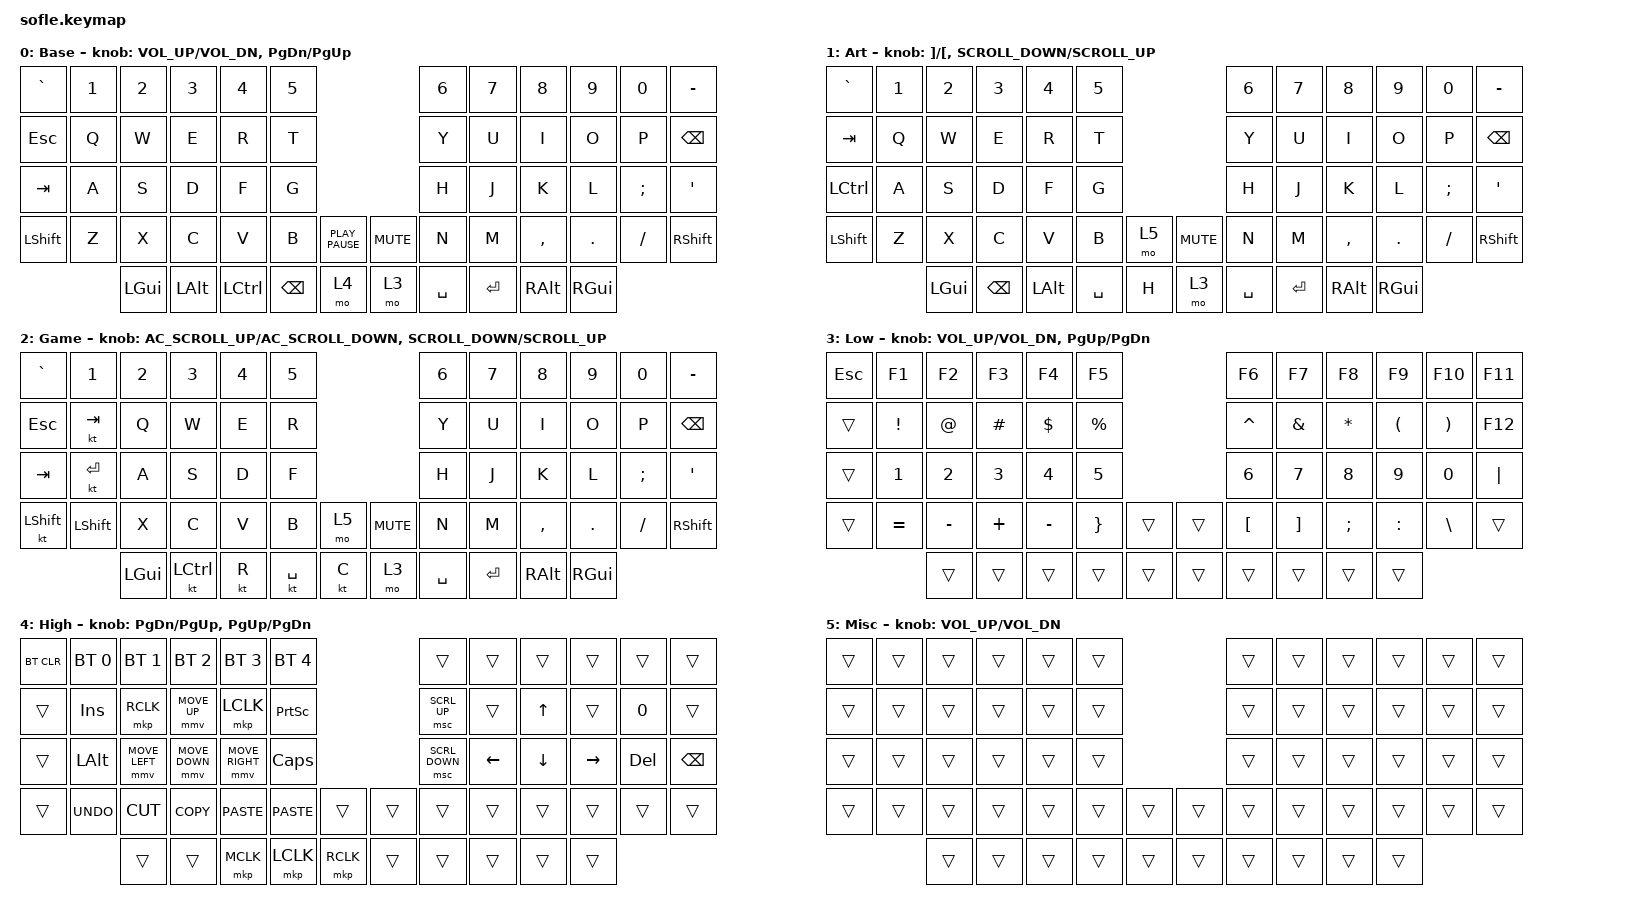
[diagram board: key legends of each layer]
/*
 * Copyright (c) 2020 The ZMK Contributors
 *
 * SPDX-License-Identifier: MIT
 */

#include <behaviors.dtsi>
#include <dt-bindings/zmk/bt.h>
#include <dt-bindings/zmk/keys.h>
#include <dt-bindings/zmk/pointing.h>

/ {
    combos {
        compatible = "zmk,combos";

        L_Shift {
            bindings = <&kp LEFT_SHIFT>;
            key-positions = <28 27>;
            layers = <0 1 3 4>;
            layers = <0 2 3 4>;
        };

        R_Shift {
            bindings = <&kp LEFT_SHIFT>;
            key-positions = <31 32>;
        };

        R_Enter {
            bindings = <&kp ENTER>;
            key-positions = <32 33>;
        };

        To_Art {
            bindings = <&to 1>;
            bindings = <&to 2>;
            key-positions = <2 3 4 1>;
        };

        To_Gaming {
            bindings = <&to 2>;
            bindings = <&to 1>;
            key-positions = <2 3 4 5>;
        };

        L_Alt {
            bindings = <&kp LEFT_ALT>;
            key-positions = <27 28 53>;
            layers = <0 3 1 4>;
            layers = <0 3 2 4>;
        };

        To_High {
            bindings = <&to 4>;
            key-positions = <13 14 15 16>;
        };

        Undo {
            bindings = <&kp C_AC_UNDO>;
            key-positions = <27 53>;
            layers = <0 1 3 4>;
            layers = <0 2 3 4>;
        };

        Redo {
            bindings = <&kp C_AC_REDO>;
            key-positions = <27 53 26>;
            layers = <0 3 1 4>;
            layers = <0 3 2 4>;
        };

        L_Ctrl {
            bindings = <&kp LCTRL>;
            key-positions = <37 38>;
            layers = <0 1 3 4>;
            layers = <0 2 3 4>;
        };

        Escape {
            bindings = <&kp ESCAPE>;
            key-positions = <13 14>;
            layers = <0 1 3 4>;
            layers = <0 2 3 4>;
        };

        To_Low {
            bindings = <&to 3>;
            key-positions = <31 33 32 34>;
        };

        L_Ctrl2 {
            bindings = <&kp LEFT_CONTROL>;
            key-positions = <27 26>;
            layers = <0 1 3 4>;
            layers = <0 2 3 4>;
        };

        To_Base {
            bindings = <&to 0>;
            key-positions = <25 26 27 28>;
        };

        PausePlay {
            bindings = <&kp C_PLAY_PAUSE>;
            key-positions = <14 15>;
            layers = <0 1 3 4>;
            layers = <0 2 3 4>;
        };
    };

    keymap {
        compatible = "zmk,keymap";

        Base {
            display-name = "Base";

            // ------------------------------------------------------------------------------------------------------------
            // |  `    |  1  |  2  |  3   |  4   |  5   |                   |  6   |  7    |  8    |  9   |   0   |       |
            // |  ESC  |  Q  |  W  |  E   |  R   |  T   |                   |  Y   |  U    |  I    |  O   |   P   | BKSPC |
            // |  TAB  |  A  |  S  |  D   |  F   |  G   |                   |  H   |  J    |  K    |  L   |   ;   |   '   |
            // | SHIFT |  Z  |  X  |  C   |  V   |  B   |  MUTE  |  |       |  N   |  M    |  ,    |  .   |   /   | SHIFT |
            //               | GUI | ALT  | CTRL | LOWER|  ENTER |  | SPACE | RAISE| CTRL  | ALT   | GUI  |

            bindings = <
&kp GRAVE  &kp N1  &kp N2        &kp N3    &kp N4     &kp N5                                    &kp N6     &kp N7     &kp N8     &kp N9    &kp N0    &kp MINUS
&kp ESC    &kp Q   &kp W         &kp E     &kp R      &kp T                                     &kp Y      &kp U      &kp I      &kp O     &kp P     &kp BSPC
&kp TAB    &kp A   &kp S         &kp D     &kp F      &kp G                                     &kp H      &kp J      &kp K      &kp L     &kp SEMI  &kp SQT
&kp LSHFT  &kp Z   &kp X         &kp C     &kp V      &kp B     &kp K_PLAY_PAUSE    &kp C_MUTE  &kp N      &kp M      &kp COMMA  &kp DOT   &kp FSLH  &kp RSHFT
                   &kp LEFT_GUI  &kp LALT  &kp LCTRL  &kp BSPC  &mo 4               &mo 3       &kp SPACE  &kp ENTER  &kp RALT   &kp RGUI
            >;

            sensor-bindings =
                <&inc_dec_kp C_VOL_UP C_VOL_DN>,
                <&inc_dec_kp PAGE_DOWN PAGE_UP>;

            label = "Base";
        };

        Art {
            display-name = "Art";
            bindings = <
&kp GRAVE  &kp N1  &kp N2        &kp N3    &kp N4    &kp N5                          &kp N6     &kp N7     &kp N8     &kp N9    &kp N0    &kp MINUS
&kp TAB    &kp Q   &kp W         &kp E     &kp R     &kp T                           &kp Y      &kp U      &kp I      &kp O     &kp P     &kp BSPC
&kp LCTRL  &kp A   &kp S         &kp D     &kp F     &kp G                           &kp H      &kp J      &kp K      &kp L     &kp SEMI  &kp SQT
&kp LSHFT  &kp Z   &kp X         &kp C     &kp V     &kp B      &mo 5    &kp C_MUTE  &kp N      &kp M      &kp COMMA  &kp DOT   &kp FSLH  &kp RSHFT
                   &kp LEFT_GUI  &kp BSPC  &kp LALT  &kp SPACE  &kp H    &mo 3       &kp SPACE  &kp ENTER  &kp RALT   &kp RGUI
            >;

            sensor-bindings =
                <&inc_dec_kp RIGHT_BRACKET LEFT_BRACKET>,
                <&inc_dec_kp K_SCROLL_DOWN K_SCROLL_UP>;

            label = "Art";
        };

        Game {
            display-name = "Game";
            bindings = <
&kp GRAVE  &kp N1     &kp N2        &kp N3     &kp N4  &kp N5                          &kp N6     &kp N7     &kp N8     &kp N9    &kp N0    &kp MINUS
&kp ESC    &kt TAB    &kp Q         &kp W      &kp E   &kp R                           &kp Y      &kp U      &kp I      &kp O     &kp P     &kp BSPC
&kp TAB    &kt RET    &kp A         &kp S      &kp D   &kp F                           &kp H      &kp J      &kp K      &kp L     &kp SEMI  &kp SQT
&kt LSHFT  &kp LSHFT  &kp X         &kp C      &kp V   &kp B      &mo 5    &kp C_MUTE  &kp N      &kp M      &kp COMMA  &kp DOT   &kp FSLH  &kp RSHFT
                      &kp LEFT_GUI  &kt LCTRL  &kt R   &kt SPACE  &kt C    &mo 3       &kp SPACE  &kp ENTER  &kp RALT   &kp RGUI
            >;

            sensor-bindings =
                <&inc_dec_kp C_AC_SCROLL_UP C_AC_SCROLL_DOWN>,
                <&inc_dec_kp K_SCROLL_DOWN K_SCROLL_UP>;

            label = "Game";
        };

        Art {
            display-name = "Art";
            bindings = <
&kp GRAVE  &kp N1  &kp N2        &kp N3    &kp N4    &kp N5                          &kp N6     &kp N7     &kp N8     &kp N9    &kp N0    &kp MINUS
&kp TAB    &kp Q   &kp W         &kp E     &kp R     &kp T                           &kp Y      &kp U      &kp I      &kp O     &kp P     &kp BSPC
&kp LCTRL  &kp A   &kp S         &kp D     &kp F     &kp G                           &kp H      &kp J      &kp K      &kp L     &kp SEMI  &kp SQT
&kp LSHFT  &kp Z   &kp X         &kp C     &kp V     &kp B      &mo 5    &kp C_MUTE  &kp N      &kp M      &kp COMMA  &kp DOT   &kp FSLH  &kp RSHFT
                   &kp LEFT_GUI  &kp BSPC  &kp LALT  &kp SPACE  &kp H    &mo 3       &kp SPACE  &kp ENTER  &kp RALT   &kp RGUI
            >;

            sensor-bindings =
                <&inc_dec_kp RIGHT_BRACKET LEFT_BRACKET>,
                <&inc_dec_kp K_SCROLL_DOWN K_SCROLL_UP>;

            label = "Art";
        };

        Low {
            display-name = "Low";

            // ------------------------------------------------------------------------------------------------------------
            // | `     |  F1 |  F2 |  F3  |  F4  |  F5  |                   |  F6  |  F7   |  F8   |  F9  |  F10  |  F11  |
            // | RAISE |   1 |   2 |   3  |   4  |   5  |                   |   6  |   7   |   8   |   9  |    0  |  F12  |
            // |       |  !  |  @  |  #   |  $   |  %   |                   |  ^   |  &    |  *    |  (   |   )   |   |   |
            // |       |  =  |  -  |  +   |  {   |  }   |        |  |       |  [   |  ]    |  ;    |  :   |   \   |       |
            //               |     |      |      |      |        |  |       |      |       |       |      |

            bindings = <
&kp ESC  &kp F1           &kp F2       &kp F3    &kp F4      &kp F5                         &kp F6     &kp F7         &kp F8        &kp F9                &kp F10                &kp F11
&trans   &kp EXCLAMATION  &kp AT_SIGN  &kp HASH  &kp DOLLAR  &kp PERCENT                    &kp CARET  &kp AMPERSAND  &kp ASTERISK  &kp LEFT_PARENTHESIS  &kp RIGHT_PARENTHESIS  &kp F12
&trans   &kp N1           &kp N2       &kp N3    &kp N4      &kp N5                         &kp N6     &kp N7         &kp N8        &kp N9                &kp N0                 &kp PIPE
&trans   &kp EQUAL        &kp MINUS    &kp PLUS  &kp MINUS   &kp RBRC     &trans    &trans  &kp LBKT   &kp RBKT       &kp SEMI      &kp COLON             &kp BSLH               &trans
                          &trans       &trans    &trans      &trans       &trans    &trans  &trans     &trans         &trans        &trans
            >;

            sensor-bindings = <&inc_dec_kp C_VOL_UP C_VOL_DN &inc_dec_kp PG_UP PG_DN>;
            label = "Low";
        };

        High {
            display-name = "High";

            // ------------------------------------------------------------------------------------------------------------
            // |BTCLR| BT1  | BT2  |  BT3  |  BT4  |  BT5 |                |      |      |       |      |       |       |
            // |     | INS  | PSCR | GUI   |       |      |                | PGUP |      |       |      |       |       |
            // |     | ALT  | CTRL | SHIFT |       | CAPS |                |  <-  |   v  |   ^   |  ->  |  DEL  | BKSPC |
            // |     | UNDO | CUT  | COPY  | PASTE |      |      |  |      |      |      |       |      |       |       |
            //              |      |       |       |      |      |  |      |      |      |       |      |

            bindings = <
&bt BT_CLR  &bt BT_SEL 0  &bt BT_SEL 1    &bt BT_SEL 2    &bt BT_SEL 3     &bt BT_SEL 4                          &trans          &trans    &trans          &trans     &trans   &trans
&trans      &kp INS       &mkp RCLK       &mmv MOVE_UP    &mkp LCLK        &kp PRINTSCREEN                       &msc SCRL_UP    &trans    &kp UP_ARROW    &trans     &kp N0   &trans
&trans      &kp LALT      &mmv MOVE_LEFT  &mmv MOVE_DOWN  &mmv MOVE_RIGHT  &kp CLCK                              &msc SCRL_DOWN  &kp LEFT  &kp DOWN_ARROW  &kp RIGHT  &kp DEL  &kp BSPC
&trans      &kp K_UNDO    &kp K_CUT       &kp K_COPY      &kp K_PASTE      &kp K_PASTE      &trans       &trans  &trans          &trans    &trans          &trans     &trans   &trans
                          &trans          &trans          &mkp MCLK        &mkp LCLK        &mkp RCLK    &trans  &trans          &trans    &trans          &trans
            >;

            sensor-bindings =
                <&inc_dec_kp PAGE_DOWN PAGE_UP>,
                <&inc_dec_kp PG_UP PG_DN>;

            label = "High";
        };

        Misc {
            bindings = <
&trans  &trans  &trans  &trans  &trans  &trans                    &trans  &trans  &trans  &trans  &trans  &trans
&trans  &trans  &trans  &trans  &trans  &trans                    &trans  &trans  &trans  &trans  &trans  &trans
&trans  &trans  &trans  &trans  &trans  &trans                    &trans  &trans  &trans  &trans  &trans  &trans
&trans  &trans  &trans  &trans  &trans  &trans  &trans    &trans  &trans  &trans  &trans  &trans  &trans  &trans
                &trans  &trans  &trans  &trans  &trans    &trans  &trans  &trans  &trans  &trans
            >;

            sensor-bindings = <&inc_dec_kp C_VOLUME_UP C_VOL_DN>;
            label = "Misc";
        };
    };
};
